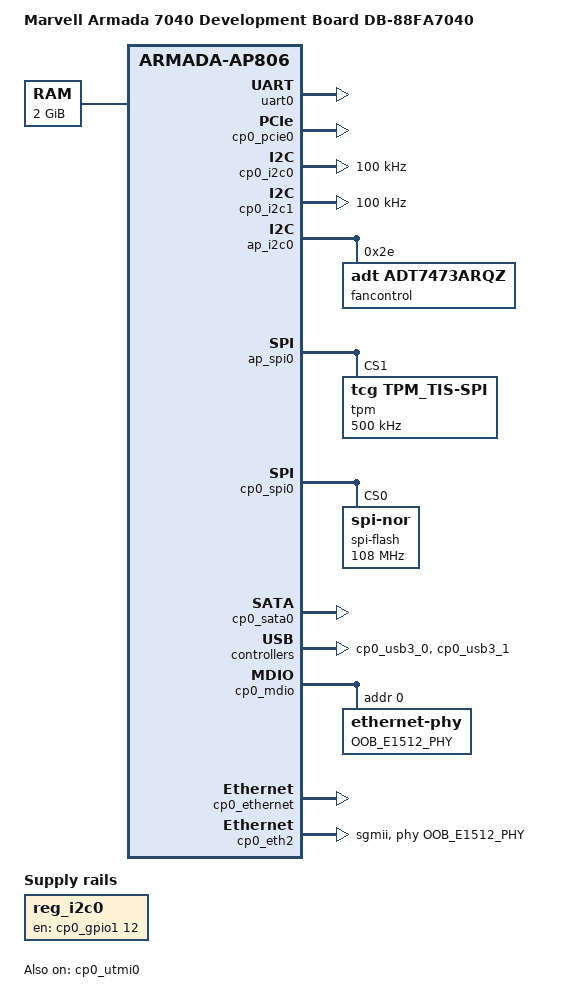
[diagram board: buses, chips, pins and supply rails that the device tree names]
/*
 * Copyright (C) 2016 Marvell Technology Group Ltd.
 *
 * This file is dual-licensed: you can use it either under the terms
 * of the GPLv2 or the X11 license, at your option. Note that this dual
 * licensing only applies to this file, and not this project as a
 * whole.
 *
 *  a) This library is free software; you can redistribute it and/or
 *     modify it under the terms of the GNU General Public License as
 *     published by the Free Software Foundation; either version 2 of the
 *     License, or (at your option) any later version.
 *
 *     This library is distributed in the hope that it will be useful,
 *     but WITHOUT ANY WARRANTY; without even the implied warranty of
 *     MERCHANTABILITY or FITNESS FOR A PARTICULAR PURPOSE.  See the
 *     GNU General Public License for more details.
 *
 * Or, alternatively,
 *
 *  b) Permission is hereby granted, free of charge, to any person
 *     obtaining a copy of this software and associated documentation
 *     files (the "Software"), to deal in the Software without
 *     restriction, including without limitation the rights to use,
 *     copy, modify, merge, publish, distribute, sublicense, and/or
 *     sell copies of the Software, and to permit persons to whom the
 *     Software is furnished to do so, subject to the following
 *     conditions:
 *
 *     The above copyright notice and this permission notice shall be
 *     included in all copies or substantial portions of the Software.
 *
 *     THE SOFTWARE IS PROVIDED "AS IS", WITHOUT WARRANTY OF ANY KIND,
 *     EXPRESS OR IMPLIED, INCLUDING BUT NOT LIMITED TO THE WARRANTIES
 *     OF MERCHANTABILITY, FITNESS FOR A PARTICULAR PURPOSE AND
 *     NONINFRINGEMENT. IN NO EVENT SHALL THE AUTHORS OR COPYRIGHT
 *     HOLDERS BE LIABLE FOR ANY CLAIM, DAMAGES OR OTHER LIABILITY,
 *     WHETHER IN AN ACTION OF CONTRACT, TORT OR OTHERWISE, ARISING
 *     FROM, OUT OF OR IN CONNECTION WITH THE SOFTWARE OR THE USE OR
 *     OTHER DEALINGS IN THE SOFTWARE.
 */

/*
 * Device Tree file for Marvell Armada 7040 Development board platform
 * Boot device: SPI NOR, 0x32 (SW3)
 */

#include "armada-70x0-db.dtsi"

/ {
	model = "Marvell Armada 7040 Development Board DB-88FA7040";
	compatible = "marvell,armada7040-db", "marvell,armada7040",
		     "marvell,armada-ap806-quad", "marvell,armada-ap806";

	chosen {
		stdout-path = "serial0:115200n8";
	};

	aliases {
		i2c0 = &cp0_i2c0;
		i2c1 = &cp0_i2c1;
		i2c2 = &ap_i2c0;	
		spi0 = &cp0_spi0;
		spi1 = &ap_spi0;
	};

	memory@00000000 {
		device_type = "memory";
		reg = <0x0 0x0 0x0 0x80000000>;
	};
	simple-bus {
		compatible = "simple-bus";
		#address-cells = <1>;
		#size-cells = <0>;
	reg_i2c0: reg_i2c {
			compatible = "regulator-fixed";
			regulator-name = "reg-i2c";
			enable-active-high;
			 /*
			  * set GPIO[44] to 1 to connect ap_i2c0 to main switch
			  * board
			  */
			gpio = <&cp0_gpio1 12 GPIO_ACTIVE_HIGH>;
		};
	};
	
};


&ap_pinctl {
	   /* MPP Bus:
	    * SDIO  [0-5]
	    * UART0 [11,19]
	    */
        
	/* 0 1 2 3 4 5 6 7 8 9 */
        /*
	pin-func = < 1 1 1 1 1 1 0 0 0 0
		     0 3 0 0 0 0 0 0 0 3 >;

        */
            /* WT20200217
            * MPP Bus:
            * SPI  [0-3]
            * I2C  [4-5]		
            * UART0 [11,19]
            */
        
                  /* 0 1 2 3 4 5 6 7 8 9 */
        pin-func = < 3 3 3 3 3 3 0 0 0 0
                     0 3 0 0 0 0 0 0 0 3 >;

       



};

&uart0 {
	status = "okay";
};


&cp0_pcie0 {
	status = "okay";
        //ranges = <0x81000000 0x0 0xf9020000 0x0 0xf9020000 0x0 0x10000 0x82000000 0x0 0xc0000000 0x0 0xc0000000 0x0 0x30000000>;
};

&cp0_i2c0 {
	pinctrl-names = "default";
	pinctrl-0 = <&cp0_i2c0_pins>;
	status = "okay";
	clock-frequency = <100000>;
};


&cp0_i2c1 {
        pinctrl-names = "default";
        pinctrl-0 = <&cp0_i2c1_pins>;
        status = "okay";
        clock-frequency = <100000>;
};

&ap_i2c0 {
	pinctrl-names = "default";
	pinctrl-0 = <&ap_i2c0_pins>;  
	enable_gpios = <&reg_i2c0>;
	status = "okay";
	fancontrol@2E {
			compatible = "adt,adt7473arqz";
			reg = <0x2E>;
	};
};



&ap_spi0
{    
        pinctrl-names = "default";
	pinctrl-0 = <&ap_spi0_pins>;  
    	bus-num = <1>;

	
	tpm@0 {
		compatible = "tcg,tpm_tis-spi";
		reg = <1>;
		#address-cells = <1>;
		#size-cells = <1>;
                spi-max-frequency = <500000>;         
        };

        //connect to TPM;
};



&cp0_pinctl {
		/* MPP Bus:
		 * SPI   [13-16]
		 * SATA1 [28]
		 * UART0 [29-30]
		 * SMI	 [32,34]
		 * XSMI  [35-36]
		 * I2C	 [37-38]
		 * RGMII [44-55]
		 * SD	 [56-61]
		 * GPIO  [62]
		 */
		/*   0   1   2   3   4   5   6   7   8   9 */
	/*	
	pin-func = < 0   0   0   0   0   0   0   0   0   0
		     0   0   0   3   3   3   3   0   0   0
		     0   0   0   0   0   0   0   0   9   0xA
		     0xA 0   7   0   7   7   7   2   2   0
		     0   0   0   0   1   1   1   1   1   1
		     1   1   1   1   1   1   0xE 0xE 0xE 0xE
		     0xE 0xE 0>;
        */

                 /* MPP Bus:
                 WT20190217 
	         * MDIO  [0-1]
                 * STAT presetnt [9]			
                 * SPI   [13-16]
                 * SATA1 [28]
                 * UART0 [29-30]
                 * SMI   [32,34]
                 * XSMI  [35-36]
                 * I2C   [37-38]
                 * RGMII [44-55]
                 * SD    [56-61]
                 * GPIO  [62]
                 */
                /*   0    1   2   3   4   5   6   7   8   9 */
        
        pin-func = < 0xA 0xA  0   0   0   0   0   0   0   0
                     0    0   0   0   0   0   0   0   0   0 
                     0    0   0   0   0   0   0   0   0   9
                     0    0   0   0   0   2   2   2   2   0
                     0    0   0   0   0   0   0   0   0   0
                     0    0   0   0   0   0   6   6   6   6
                     0    0   0>;
         

};


&cp0_spi0 {
	pinctrl-names = "default";
	pinctrl-0 = <&cp0_spi0_grp1_pins>;
	status = "okay";

	spi-flash@0 {
		#address-cells = <0x1>;
		#size-cells = <0x1>;
		compatible = "jedec,spi-nor", "spi-flash";
		reg = <0x0>;
		spi-max-frequency = <108000000>;
	};
};


&cp0_sata0 {
	status = "okay";
};

&cp0_usb3_0 {
	status = "okay";
};

&cp0_usb3_1 {
	status = "okay";
};

&cp0_comphy {
	/*
	phy0 {
		phy-type = <COMPHY_TYPE_SGMII1>;
		phy-speed = <COMPHY_SPEED_1_25G>;
	};
	*/
        /*WT20200217*/  
	phy0 {
                phy-type = <COMPHY_TYPE_PEX0>;
                phy-speed = <COMPHY_SPEED_5G>;

        };

	
         
	/*phy1 {
	//	phy-type = <COMPHY_TYPE_USB3_HOST0>;
	};*/
        
        //WT20200217 
        phy1 {
                phy-type = <COMPHY_TYPE_SATA0>;
             
               phy-speed = <COMPHY_SPEED_6G>;
        };

        /*
	phy2 {
		phy-type = <COMPHY_TYPE_SFI0>;
		phy-speed = <COMPHY_SPEED_10_3125G>;
	};
       */  
        //WT20200217 
        phy2 {
                phy-type = <COMPHY_TYPE_SGMII0>;
                phy-speed = <COMPHY_SPEED_3_125G>;
        };

        /*
	phy3 {
		phy-type = <COMPHY_TYPE_SATA1>;
	};
        */

        //WT20200217 
	 phy3 {
                phy-type = <COMPHY_TYPE_SGMII1>;
                phy-speed = <COMPHY_SPEED_1_25G>;
        };






	phy4 {
		phy-type = <COMPHY_TYPE_UNCONNECTED>;
	};

        /*
	phy5 {
		phy-type = <COMPHY_TYPE_PEX2>;
	};
	*/
        //WT20200217 
         phy5{
                phy-type = <COMPHY_TYPE_SGMII2>;
                phy-speed = <COMPHY_SPEED_1_25G>;
        };


	
};


&cp0_utmi0 {
	status = "okay";
};

&cp0_mdio {
	status = "okay";
/*	enable_gpios = <&reg_smi0>;*/
	OOB_E1512_PHY: ethernet-phy@1 {
		reg = <0x0>;
	};
};

&cp0_ethernet {
	status = "okay";
};

&cp0_eth0 {
	status = "disable";
	phy-mode = "2500base-x";
	phy-speed = <2500>;
	fixed-link {
	speed = <2500>;
	full-duplex;
	};
};

&cp0_eth1 {
	status = "disable";
	phy-mode = "1000base-x";
	fixed-link {
	      speed = <1000>;
	      full-duplex;
	};
};

&cp0_eth2 {
	status = "okay";
	phy-mode = "sgmii";
	phy = <&OOB_E1512_PHY>;
};
